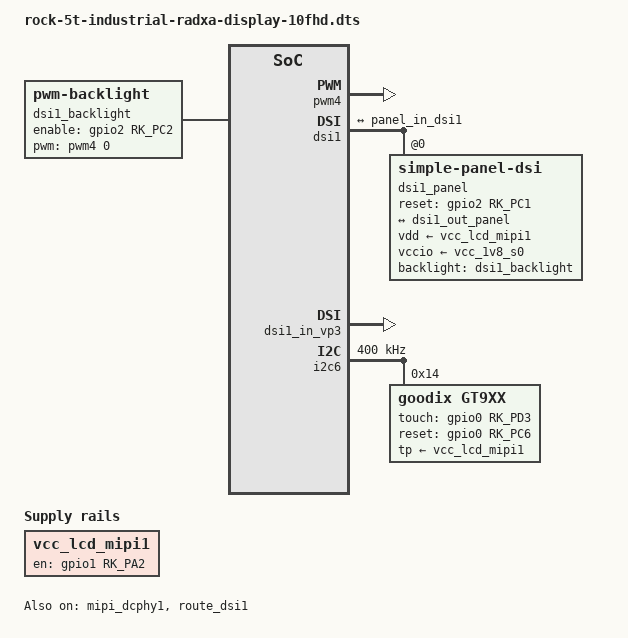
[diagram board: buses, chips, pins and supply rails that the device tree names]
/dts-v1/;
/plugin/;

#include <dt-bindings/interrupt-controller/irq.h>
#include <dt-bindings/gpio/gpio.h>
#include <dt-bindings/pinctrl/rockchip.h>
#include <dt-bindings/display/drm_mipi_dsi.h>
#include <dt-bindings/pwm/pwm.h>

/ {
	metadata {
		title ="Enable Radxa Display 10FHD";
		compatible = "radxa,rock-5t-industrial";
		category = "display";
		exclusive = "dsi1", "GPIO1_A2";
		description = "Enable Radxa Display 10FHD.";
	};
};

&{/} {
	vcc_lcd_mipi1: vcc-lcd-mipi1 {
		status = "okay";
		compatible = "regulator-fixed";
		regulator-name = "vcc_lcd_mipi1";
		gpio = <&gpio1 RK_PA2 GPIO_ACTIVE_HIGH>;
		enable-active-high;
		regulator-always-on;
		regulator-state-mem {
			regulator-off-in-suspend;
		};
	};

	dsi1_backlight: dsi1-backlight {
		status = "okay";
		compatible = "pwm-backlight";
		pwms = <&pwm4 0 25000 PWM_POLARITY_INVERTED>;
		brightness-levels = <0 255>;
		num-interpolated-steps = <255>;
		default-brightness-level = <200>;
		enable-gpios = <&gpio2 RK_PC2 GPIO_ACTIVE_HIGH>;
		pinctrl-names = "default";
		pinctrl-0 = <&dsi1_backlight_en>;
	};
};

&pwm4 {
	status = "okay";
	pinctrl-names = "active";
	pinctrl-0 = <&pwm4m1_pins>;
};

&dsi1{
	status = "okay";
	#address-cells = <1>;
	#size-cells = <0>;

	dsi1_panel: panel@0 {
		status = "okay";
		compatible = "simple-panel-dsi";
		reg = <0>;
		backlight = <&dsi1_backlight>;

		vdd-supply = <&vcc_lcd_mipi1>;
		vccio-supply = <&vcc_1v8_s0>;
		reset-gpios = <&gpio2 RK_PC1 GPIO_ACTIVE_HIGH>;
		pinctrl-names = "default";
		pinctrl-0 = <&dsi1_lcd_rst_gpio>;

		prepare-delay-ms = <120>;
		reset-delay-ms = <120>;
		init-delay-ms = <120>;
		enable-delay-ms = <100>;
		disable-delay-ms = <120>;
		unprepare-delay-ms = <120>;

		width-mm = <62>;
		height-mm = <110>;

		dsi,flags = <(MIPI_DSI_MODE_VIDEO | MIPI_DSI_MODE_VIDEO_BURST |
		MIPI_DSI_MODE_LPM | MIPI_DSI_MODE_NO_EOT_PACKET)>;
		dsi,format = <MIPI_DSI_FMT_RGB888>;
		dsi,lanes = <4>;

		panel-init-sequence = [
			05 78 01 11
			05 00 01 29
		];

		panel-exit-sequence = [
			05 00 01 28
			05 00 01 10
		];

		display-timings {
			native-mode = <&timing0>;
			timing0: timing0 {
				clock-frequency = <160000000>;
				hactive = <1200>;
				vactive = <1920>;

				vback-porch = <25>;
				vfront-porch = <35>;

				hback-porch = <60>;
				hfront-porch = <80>;

				hsync-len = <4>;
				vsync-len = <4>;

				vsync-active = <0>;
				hsync-active = <0>;
				de-active = <0>;
				pixelclk-active = <0>;
			};
		};

		ports {
			#address-cells = <1>;
			#size-cells = <0>;

			port@0 {
				reg = <0>;
				panel_in_dsi1: endpoint {
					remote-endpoint = <&dsi1_out_panel>;
				};
			};
		};
	};

	ports {
		#address-cells = <1>;
		#size-cells = <0>;

		port@1 {
			reg = <1>;
			dsi1_out_panel: endpoint {
				remote-endpoint = <&panel_in_dsi1>;
			};
		};
	};
};

&mipi_dcphy1 {
	status = "okay";
};

&route_dsi1 {
	status = "okay";
	connect = <&vp3_out_dsi1>;
};

&dsi1_in_vp2 {
	status = "disabled";
};

&dsi1_in_vp3 {
	status = "okay";
};

&i2c6 {
	status = "okay";
	pinctrl-names = "default";
	pinctrl-0 = <&i2c6m0_xfer>;
	clock-frequency = <400000>;
	#address-cells = <1>;
	#size-cells = <0>;

	gt9xx: gt9xx@14 {
		compatible = "goodix,gt9xx";
		reg = <0x14>;
		pinctrl-names = "default";
		pinctrl-0 = <&gt9xx_gpio>;
		touch-gpio = <&gpio0 RK_PD3 IRQ_TYPE_LEVEL_HIGH>;
		reset-gpio = <&gpio0 RK_PC6 GPIO_ACTIVE_HIGH>;
		max-x = <1200>;
		max-y = <1920>;
		tp-size = <9271>;
		tp-supply = <&vcc_lcd_mipi1>;
	};
};

&pinctrl {
	dsi1-lcd {
		dsi1_lcd_rst_gpio: dsi1-lcd-rst-gpio {
			rockchip,pins = <2 RK_PC1 RK_FUNC_GPIO &pcfg_pull_up>;
		};

		dsi1_backlight_en: dsi1-backlight-en {
			rockchip,pins = <2 RK_PC2 RK_FUNC_GPIO &pcfg_pull_up>;
		};
	};

	gt9xx {
		gt9xx_gpio: gt9xx-gpio {
			rockchip,pins =
				<0 RK_PC6 RK_FUNC_GPIO &pcfg_pull_none>,
				<0 RK_PD3 RK_FUNC_GPIO &pcfg_pull_up>;
		};
	};
};
